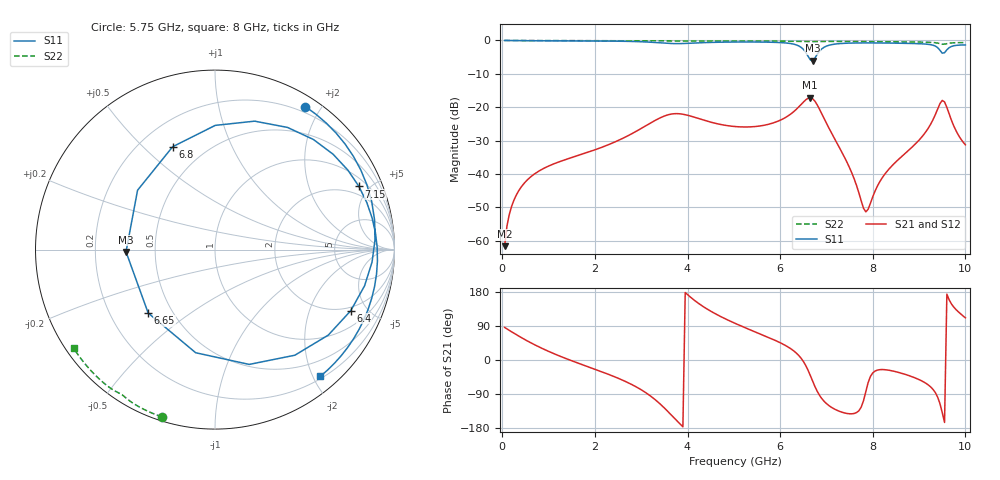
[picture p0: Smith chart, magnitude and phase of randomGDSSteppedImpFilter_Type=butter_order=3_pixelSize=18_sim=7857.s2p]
! freq	dB(S11)	phase(S11)	dB(S12)	phase(S12)
!  dB(S21)	phase(S21)	dB(S22)	phase(S22)
!S-par simulation data
#  GHz  S  DB  R 50
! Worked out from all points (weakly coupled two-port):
!   200 points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, 50 MHz to 10 GHz, reference 50 ohm
!   highest |S21| = -17.16 dB at 6.65 GHz (marker M1); lowest = -61.7 dB at 50 MHz (marker M2)
!   lowest |S11| = -6.1 dB at 6.7 GHz (marker M3), VSWR 2.97, Z = 16.9 - j0.561 ohm
!   |S11| at or under -10 dB: nowhere
!   |S22| runs from -1.1 to 0.0 dB; largest |S21 - S12| = 0
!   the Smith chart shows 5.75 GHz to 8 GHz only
!   S11 on the Smith chart (normalised r, x): 5.75 GHz: 0.13, +1.81; 6.4 GHz: 1.78, -3.89; 6.65 GHz: 0.37, -0.35; 6.8 GHz: 0.33, +0.62; 7.15 GHz: 1.43, +4.32; 8 GHz: 0.23, -2.11
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0.05  -0.01 -6.7  -61.66 86.0  -61.66 86.0  -0.00 -1.0
0.25  -0.04 -32.9  -47.91 70.8  -47.91 70.8  -0.01 -5.1
0.75  -0.10 -90.7  -39.49 37.1  -39.49 37.1  -0.02 -15.2
1.75  -0.15 -173.2  -33.96 -13.3  -33.96 -13.3  -0.05 -35.0
2.85  -0.32 98.6  -27.55 -68.2  -27.55 -68.2  -0.08 -56.2
3.4  -0.71 17.3  -23.25 -115.1  -23.25 -115.1  -0.11 -66.4
3.6  -0.90 -26.3  -22.21 -138.9  -22.21 -138.9  -0.12 -70.0
3.9  -0.93 -95.4  -22.11 -176.2  -22.11 -176.2  -0.13 -75.4
4.35  -0.65 -172.1  -23.89 140.1  -23.89 140.1  -0.14 -83.3
5.05  -0.47 116.4  -25.83 95.4  -25.83 95.4  -0.16 -95.6
5.75  -0.52 57.7  -25.12 59.4  -25.12 59.4  -0.20 -107.6
6.4  -1.62 -24.2  -19.95 12.1  -19.95 12.1  -0.27 -118.6
6.55  -3.51 -73.4  -17.84 -14.0  -17.84 -14.0  -0.32 -121.1
6.65  -5.79 -136.5  -17.16 -40.5  -17.16 -40.5  -0.35 -122.5
6.7  -6.09 -178.5  -17.44 -55.5  -17.44 -55.5  -0.35 -123.1
6.8  -4.15 112.4  -19.30 -82.6  -19.30 -82.6  -0.32 -124.6
7.15  -1.15 23.7  -28.80 -127.9  -28.80 -127.9  -0.29 -130.6
7.85  -0.74 -40.0  -51.36 -83.3  -51.36 -83.3  -0.34 -142.5
8  -0.74 -50.2  -46.83 -34.0  -46.83 -34.0  -0.35 -145.1
8.35  -0.78 -72.4  -38.54 -27.0  -38.54 -27.0  -0.39 -151.1
9.5  -3.82 -136.6  -17.97 -138.6  -17.97 -138.6  -1.12 -171.9
10  -1.34 -154.4  -31.28 111.3  -31.28 111.3  -0.64 -179.7
